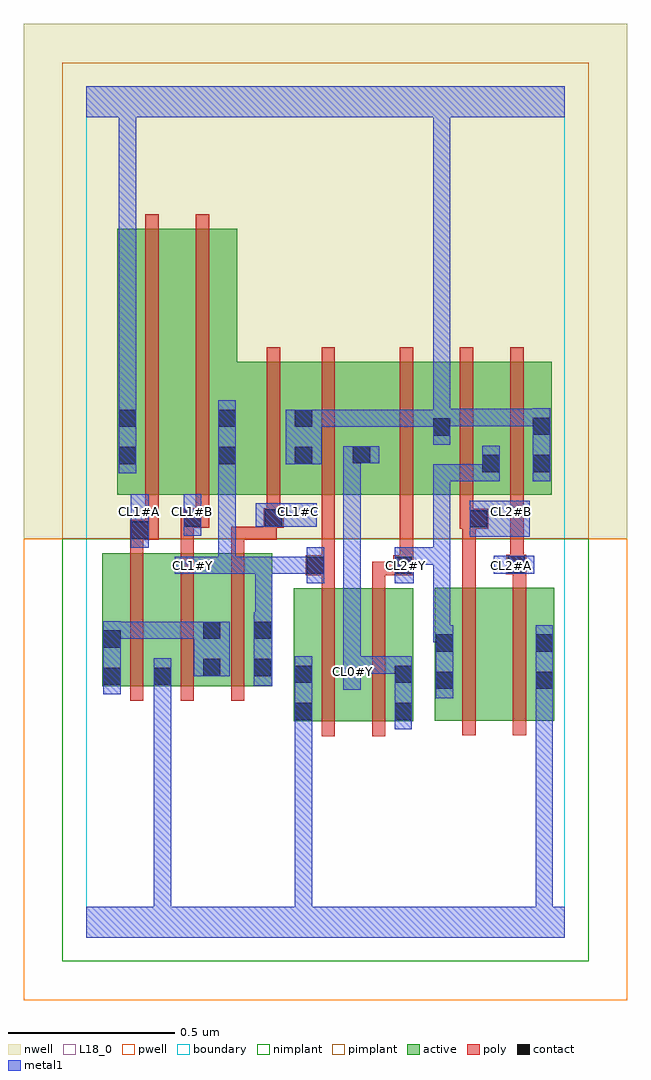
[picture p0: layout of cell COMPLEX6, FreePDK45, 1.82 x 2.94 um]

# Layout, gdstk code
import gdstk
lib = gdstk.Library(unit=1e-6, precision=1e-09)
def R(c, l, rs):  # rectangles x0, y0, x1, y1
    for r in rs: c.add(gdstk.rectangle(r[:2], r[2:], *l))
def A(c, l, x, y, w, h, nx, ny, dx, dy):  # array of equal rectangles
    R(c, l, [(x+i*dx, y+j*dy, x+i*dx+w, y+j*dy+h) for i in range(nx) for j in range(ny)])
active = (1, 0)
pwell = (2, 0)
nwell = (3, 0)
nimplant = (4, 0)
pimplant = (5, 0)
poly = (9, 0)
contact = (10, 0)
metal1 = (11, 0)
L18_0 = (18, 0)
boundary = (235, 0)

complex6 = lib.new_cell('COMPLEX6')
R(complex6, active, [(0.624,0.65,0.684,1.05), (0.624,0.65,0.804,1.05), (0.804,0.65,0.984,1.05), (0.924,0.65,0.984,1.05), (1.048,0.652,1.228,1.052), (1.228,0.652,1.408,1.052), (1.348,0.652,1.408,1.052), (1.048,0.744,1.108,1.052), (0.048,0.756,0.108,1.156), (0.048,0.756,0.26,1.156), (0.2,0.756,0.26,1.156), (0.2,0.756,0.408,1.156), (0.348,0.756,0.408,1.156), (0.348,0.756,0.56,1.156), (0.5,0.756,0.56,1.156), (0.094,1.332,0.274,2.132), (0.094,1.332,0.154,2.044), (0.274,1.332,0.454,2.132), (0.394,1.332,0.684,1.732), (0.624,1.332,0.858,1.732), (0.798,1.332,1.1,1.732), (1.04,1.332,1.1,1.732), (1.04,1.332,1.248,1.732), (1.188,1.332,1.4,1.732), (1.34,1.332,1.4,1.732), (1.188,1.396,1.248,1.644), (0.394,1.42,0.454,1.644), (0.624,1.42,0.684,1.644), (0.798,1.422,0.858,1.644)])
R(complex6, pwell, [(-0.188,-0.188,1.628,1.2)])
R(complex6, nwell, [(-0.188,1.2,1.628,2.748)])
R(complex6, nimplant, [(-0.072,-0.072,1.512,1.2)])
R(complex6, pimplant, [(-0.072,1.2,1.512,2.632)])
A(complex6, poly, 0.132, 0.712, 0.04, 0.488, 3, 1, 0.152, 0)
R(complex6, poly, [(0.708,0.606,0.748,1.094), (0.86,0.606,0.9,1.094), (1.132,0.608,1.172,1.096), (1.284,0.608,1.324,1.096), (0.708,1.054,0.748,1.13), (0.86,1.054,0.9,1.13), (1.132,1.056,1.172,1.27), (1.284,1.056,1.324,1.132), (0.66,1.09,0.748,1.15), (0.86,1.09,0.964,1.13), (0.924,1.09,0.964,1.13), (0.924,1.09,0.984,1.15), (1.264,1.092,1.324,1.152), (0.708,1.11,0.748,1.15), (0.708,1.11,0.748,1.15), (0.708,1.11,0.748,1.328), (0.944,1.11,0.984,1.328), (1.276,1.112,1.316,1.328), (1.276,1.112,1.316,1.152), (1.276,1.112,1.316,1.152), (0.132,1.16,0.172,1.236), (0.284,1.16,0.324,1.272), (0.436,1.16,0.476,1.236), (0.132,1.196,0.172,1.236), (0.132,1.196,0.172,1.236), (0.132,1.196,0.218,1.256), (0.436,1.196,0.574,1.236), (0.534,1.196,0.574,1.272), (0.178,1.216,0.218,1.328), (1.124,1.23,1.21,1.29), (1.132,1.23,1.172,1.27), (1.132,1.23,1.172,1.27), (0.284,1.232,0.33,1.272), (0.29,1.232,0.33,1.272), (0.29,1.232,0.37,1.292), (0.534,1.232,0.594,1.292), (1.124,1.25,1.164,1.328), (0.33,1.252,0.37,1.328), (0.544,1.252,0.584,1.328), (0.178,1.288,0.218,2.176), (0.33,1.288,0.37,2.176), (0.544,1.288,0.584,1.776), (0.708,1.288,0.748,1.776), (0.944,1.288,0.984,1.776), (1.124,1.288,1.164,1.776), (1.276,1.288,1.316,1.776)])
R(complex6, contact, [(0.628,0.654,0.68,0.706), (0.928,0.654,0.98,0.706), (1.052,0.748,1.104,0.8), (1.352,0.748,1.404,0.8), (0.052,0.76,0.104,0.812), (0.204,0.76,0.256,0.812), (0.628,0.766,0.68,0.818), (0.928,0.766,0.98,0.818), (0.352,0.786,0.404,0.838), (0.504,0.786,0.556,0.838), (1.052,0.86,1.104,0.912), (1.352,0.86,1.404,0.912), (0.052,0.872,0.104,0.924), (0.352,0.898,0.404,0.95), (0.504,0.898,0.556,0.95), (0.664,1.094,0.716,1.146), (0.928,1.094,0.98,1.146), (1.268,1.096,1.32,1.148), (0.136,1.2,0.188,1.252), (1.154,1.234,1.206,1.286), (0.294,1.236,0.346,1.288), (0.538,1.236,0.59,1.288), (1.192,1.4,1.244,1.452), (1.344,1.4,1.396,1.452), (0.098,1.424,0.15,1.476), (0.398,1.424,0.45,1.476), (0.628,1.424,0.68,1.476), (0.802,1.426,0.854,1.478), (1.044,1.51,1.096,1.562), (1.344,1.512,1.396,1.564), (0.098,1.536,0.15,1.588), (0.398,1.536,0.45,1.588), (0.628,1.536,0.68,1.588)])
R(complex6, metal1, [(0,0,1.44,0.092), (0.204,0.04,0.256,0.092), (0.204,0.04,0.256,0.092), (0.204,0.04,0.256,0.092), (0.204,0.04,0.256,0.092), (0.204,0.04,0.256,0.092), (0.204,0.04,0.256,0.092), (0.204,0.04,0.256,0.092), (0.204,0.04,0.256,0.092), (0.204,0.04,0.256,0.784), (0.628,0.04,0.68,0.092), (0.628,0.04,0.68,0.092), (0.628,0.04,0.68,0.092), (0.628,0.04,0.68,0.092), (0.628,0.04,0.68,0.092), (0.628,0.04,0.68,0.092), (0.628,0.04,0.68,0.092), (0.628,0.04,0.68,0.092), (0.628,0.04,0.68,0.092), (0.628,0.04,0.68,0.092), (0.628,0.04,0.68,0.092), (0.628,0.04,0.68,0.092), (0.628,0.04,0.68,0.678), (1.352,0.04,1.404,0.772), (1.352,0.04,1.404,0.092), (1.352,0.04,1.404,0.092), (1.352,0.04,1.404,0.092), (1.352,0.04,1.404,0.092), (1.352,0.04,1.404,0.092), (1.352,0.04,1.404,0.092), (1.352,0.04,1.404,0.092), (1.352,0.04,1.404,0.092), (1.352,0.04,1.404,0.092), (1.352,0.04,1.404,0.092), (1.352,0.04,1.404,0.092), (1.352,0.04,1.404,0.092), (0.628,0.626,0.68,0.846), (0.928,0.626,0.98,0.846), (1.052,0.72,1.104,0.94), (1.352,0.72,1.404,0.94), (0.052,0.732,0.104,0.952), (0.204,0.732,0.256,0.784), (0.204,0.732,0.256,0.784), (0.204,0.732,0.256,0.784), (0.204,0.732,0.256,0.784), (0.204,0.732,0.256,0.84), (0.774,0.746,0.826,0.854), (0.504,0.758,0.56,0.978), (0.324,0.786,0.432,0.95), (0.774,0.794,0.98,0.846), (0.928,0.794,0.98,0.846), (0.928,0.794,0.98,0.846), (0.928,0.794,0.98,0.846), (0.928,0.794,0.98,0.846), (0.774,0.802,0.826,0.854), (0.774,0.802,0.826,0.854), (0.774,0.802,0.826,1.478), (1.044,0.888,1.096,1.174), (1.044,0.888,1.104,0.94), (1.052,0.888,1.104,0.94), (0.052,0.898,0.104,0.95), (0.052,0.898,0.104,0.95), (0.052,0.898,0.212,0.95), (0.16,0.898,0.212,0.95), (0.16,0.898,0.376,0.95), (0.324,0.898,0.376,0.95), (0.324,0.898,0.376,0.95), (0.508,0.926,0.56,1.146), (0.664,1.066,0.716,1.174), (0.928,1.066,0.986,1.174), (0.266,1.094,0.45,1.146), (0.398,1.094,0.45,1.146), (0.398,1.094,0.45,1.146), (0.398,1.094,0.542,1.146), (0.398,1.094,0.45,1.448), (0.49,1.094,0.542,1.146), (0.49,1.094,0.56,1.146), (0.508,1.094,0.56,1.146), (0.508,1.094,0.716,1.146), (0.664,1.094,0.716,1.146), (0.664,1.094,0.716,1.146), (1.226,1.094,1.348,1.148), (0.934,1.122,0.986,1.174), (0.934,1.122,0.986,1.174), (0.934,1.122,1.096,1.174), (1.044,1.122,1.096,1.174), (1.044,1.122,1.096,1.424), (0.134,1.172,0.188,1.334), (1.154,1.206,1.334,1.314), (0.294,1.208,0.346,1.334), (0.51,1.236,0.694,1.306), (1.044,1.372,1.244,1.424), (1.044,1.372,1.096,1.424), (1.044,1.372,1.096,1.424), (1.044,1.372,1.096,1.424), (1.192,1.372,1.244,1.48), (1.344,1.372,1.396,1.592), (0.098,1.396,0.15,1.616), (0.398,1.396,0.45,1.616), (0.6,1.424,0.708,1.588), (0.774,1.426,0.882,1.478), (1.044,1.482,1.096,1.59), (0.656,1.536,0.87,1.588), (0.818,1.536,0.87,1.588), (0.818,1.536,0.87,1.588), (0.818,1.536,0.87,1.588), (0.818,1.536,0.98,1.588), (0.928,1.536,0.98,1.588), (0.928,1.536,0.98,1.588), (0.928,1.536,0.98,1.588), (0.928,1.536,1.096,1.588), (1.044,1.538,1.096,1.59), (1.044,1.538,1.096,1.59), (1.044,1.538,1.248,1.59), (1.044,1.538,1.096,2.52), (1.196,1.538,1.396,1.59), (1.196,1.538,1.248,1.59), (1.196,1.538,1.248,1.59), (1.196,1.538,1.248,1.59), (0.098,1.564,0.15,1.616), (0.098,1.564,0.15,1.616), (0.098,1.564,0.15,1.616), (0.098,1.564,0.15,1.616), (0.098,1.564,0.15,2.52), (0,2.468,1.44,2.56), (0.098,2.468,0.15,2.52), (0.098,2.468,0.15,2.52), (0.098,2.468,0.15,2.52), (0.098,2.468,0.15,2.52), (1.044,2.468,1.096,2.52), (1.044,2.468,1.096,2.52), (1.044,2.468,1.096,2.52), (1.044,2.468,1.096,2.52), (1.044,2.468,1.096,2.52), (1.044,2.468,1.096,2.52), (1.044,2.468,1.096,2.52), (1.044,2.468,1.096,2.52), (1.044,2.468,1.096,2.52), (1.044,2.468,1.096,2.52), (1.044,2.468,1.096,2.52), (1.044,2.468,1.096,2.52), (1.044,2.468,1.096,2.52), (1.044,2.468,1.096,2.52), (1.044,2.468,1.096,2.52), (1.044,2.468,1.096,2.52)])
R(complex6, L18_0, [(0,0,1.44,0.092), (0.204,0.04,0.256,0.092), (0.204,0.04,0.256,0.092), (0.204,0.04,0.256,0.092), (0.204,0.04,0.256,0.092), (0.204,0.04,0.256,0.092), (0.204,0.04,0.256,0.092), (0.204,0.04,0.256,0.092), (0.204,0.04,0.256,0.092), (0.204,0.04,0.256,0.784), (0.628,0.04,0.68,0.092), (0.628,0.04,0.68,0.092), (0.628,0.04,0.68,0.092), (0.628,0.04,0.68,0.092), (0.628,0.04,0.68,0.092), (0.628,0.04,0.68,0.092), (0.628,0.04,0.68,0.092), (0.628,0.04,0.68,0.092), (0.628,0.04,0.68,0.092), (0.628,0.04,0.68,0.092), (0.628,0.04,0.68,0.092), (0.628,0.04,0.68,0.092), (0.628,0.04,0.68,0.678), (1.352,0.04,1.404,0.092), (1.352,0.04,1.404,0.092), (1.352,0.04,1.404,0.092), (1.352,0.04,1.404,0.092), (1.352,0.04,1.404,0.092), (1.352,0.04,1.404,0.092), (1.352,0.04,1.404,0.092), (1.352,0.04,1.404,0.092), (1.352,0.04,1.404,0.092), (1.352,0.04,1.404,0.092), (1.352,0.04,1.404,0.092), (1.352,0.04,1.404,0.092), (1.352,0.04,1.404,0.772), (0.628,0.626,0.68,0.846), (0.928,0.626,0.98,0.846), (1.052,0.72,1.104,0.94), (1.352,0.72,1.404,0.94), (0.204,0.732,0.256,0.784), (0.204,0.732,0.256,0.784), (0.204,0.732,0.256,0.784), (0.204,0.732,0.256,0.784), (0.204,0.732,0.256,0.84), (0.774,0.746,0.826,0.854), (0.504,0.758,0.56,0.978), (0.774,0.774,0.826,0.826), (0.774,0.794,0.98,0.846), (0.928,0.794,0.98,0.846), (0.928,0.794,0.98,0.846), (0.928,0.794,0.98,0.846), (0.928,0.794,0.98,0.846), (0.774,0.802,0.826,0.854), (0.774,0.802,0.826,0.854), (0.774,0.802,0.826,1.478), (1.044,0.888,1.104,0.94), (1.044,0.888,1.096,1.174), (1.052,0.888,1.104,0.94), (0.508,0.926,0.56,1.146), (0.664,1.066,0.716,1.174), (0.928,1.066,0.986,1.174), (0.266,1.094,0.45,1.146), (0.294,1.094,0.346,1.146), (0.398,1.094,0.45,1.146), (0.398,1.094,0.45,1.146), (0.398,1.094,0.45,1.448), (0.398,1.094,0.542,1.146), (0.49,1.094,0.542,1.146), (0.49,1.094,0.56,1.146), (0.508,1.094,0.56,1.146), (0.508,1.094,0.716,1.146), (0.664,1.094,0.716,1.146), (0.664,1.094,0.716,1.146), (0.934,1.094,0.986,1.146), (1.226,1.094,1.348,1.148), (1.254,1.094,1.306,1.146), (0.934,1.122,0.986,1.174), (0.934,1.122,0.986,1.174), (0.934,1.122,1.096,1.174), (1.044,1.122,1.096,1.174), (1.044,1.122,1.096,1.424), (0.134,1.172,0.188,1.334), (1.154,1.206,1.334,1.314), (0.294,1.208,0.346,1.334), (0.51,1.236,0.694,1.306), (0.134,1.254,0.186,1.306), (0.294,1.254,0.346,1.306), (0.614,1.254,0.666,1.306), (1.254,1.254,1.306,1.306), (1.044,1.372,1.096,1.424), (1.044,1.372,1.096,1.424), (1.044,1.372,1.096,1.424), (1.044,1.372,1.244,1.424), (1.192,1.372,1.244,1.48), (1.344,1.372,1.396,1.592), (0.098,1.396,0.15,1.616), (0.398,1.396,0.45,1.616), (0.6,1.424,0.708,1.588), (0.774,1.426,0.882,1.478), (1.044,1.482,1.096,1.59), (0.656,1.536,0.87,1.588), (0.818,1.536,0.87,1.588), (0.818,1.536,0.87,1.588), (0.818,1.536,0.87,1.588), (0.818,1.536,0.98,1.588), (0.928,1.536,0.98,1.588), (0.928,1.536,0.98,1.588), (0.928,1.536,0.98,1.588), (0.928,1.536,1.096,1.588), (1.044,1.538,1.096,1.59), (1.044,1.538,1.096,1.59), (1.044,1.538,1.096,2.52), (1.044,1.538,1.248,1.59), (1.196,1.538,1.248,1.59), (1.196,1.538,1.248,1.59), (1.196,1.538,1.248,1.59), (1.196,1.538,1.396,1.59), (0.098,1.564,0.15,1.616), (0.098,1.564,0.15,1.616), (0.098,1.564,0.15,1.616), (0.098,1.564,0.15,1.616), (0.098,1.564,0.15,2.52), (0,2.468,1.44,2.56), (0.098,2.468,0.15,2.52), (0.098,2.468,0.15,2.52), (0.098,2.468,0.15,2.52), (0.098,2.468,0.15,2.52), (1.044,2.468,1.096,2.52), (1.044,2.468,1.096,2.52), (1.044,2.468,1.096,2.52), (1.044,2.468,1.096,2.52), (1.044,2.468,1.096,2.52), (1.044,2.468,1.096,2.52), (1.044,2.468,1.096,2.52), (1.044,2.468,1.096,2.52), (1.044,2.468,1.096,2.52), (1.044,2.468,1.096,2.52), (1.044,2.468,1.096,2.52), (1.044,2.468,1.096,2.52), (1.044,2.468,1.096,2.52), (1.044,2.468,1.096,2.52), (1.044,2.468,1.096,2.52), (1.044,2.468,1.096,2.52)])
R(complex6, boundary, [(0,0,1.44,2.56)])
complex6.add(gdstk.Label('CL0#Y', (0.8,0.8), layer=11, texttype=0))
complex6.add(gdstk.Label('CL1#A', (0.16,1.28), layer=11, texttype=0))
complex6.add(gdstk.Label('CL1#B', (0.32,1.28), layer=11, texttype=0))
complex6.add(gdstk.Label('CL1#C', (0.64,1.28), layer=11, texttype=0))
complex6.add(gdstk.Label('CL1#Y', (0.32,1.12), layer=11, texttype=0))
complex6.add(gdstk.Label('CL2#A', (1.28,1.12), layer=11, texttype=0))
complex6.add(gdstk.Label('CL2#B', (1.28,1.28), layer=11, texttype=0))
complex6.add(gdstk.Label('CL2#Y', (0.96,1.12), layer=11, texttype=0))

lib.write_gds('COMPLEX6.gds')
